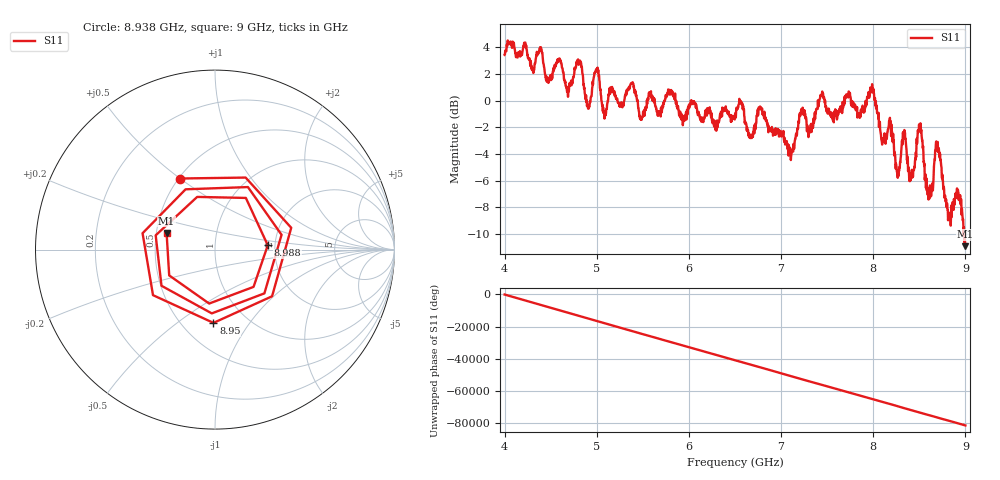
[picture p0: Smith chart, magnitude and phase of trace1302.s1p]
! Created with skrf 1.8.0 (http://scikit-rf.org).
# Hz S RI R 50.0
!freq ReS11 ImS11
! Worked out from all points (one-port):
!   1601 points, 4 GHz to 9 GHz, reference 50 ohm
!   lowest |S11| = -10.9 dB at 9 GHz (marker M1), VSWR 1.80, Z = 28.3 + j5.7 ohm
!   |S11| at or under -10 dB: 8.980341 GHz to 8.981772 GHz (1.431 MHz wide, 0.0159 % of centre); 8.985834 GHz to end of sweep
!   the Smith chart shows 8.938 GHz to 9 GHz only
!   S11 on the Smith chart (normalised r, x): 8.938 GHz: 0.51, +0.50; 8.95 GHz: 0.70, -0.69; 8.988 GHz: 1.83, +0.10; 9 GHz: 0.57, +0.11
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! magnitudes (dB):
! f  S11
! 4 GHz  3.4
! 4.625 GHz  2.5
! 5.25 GHz  -0.5
! 5.378 GHz  1.3
! 5.484 GHz  -1.3
! 5.875 GHz  -0.5
! 6.5 GHz  -1.0
! 6.572 GHz  -0.2
! 6.669 GHz  -2.7
! 6.781 GHz  -0.5
! 7.125 GHz  -3.6
! 7.222 GHz  -0.9
! 7.75 GHz  0.3
! 7.991 GHz  0.9
! 8.103 GHz  -2.9
! 8.197 GHz  -1.8
! 8.262 GHz  -5.5
! 8.331 GHz  -2.3
! 8.375 GHz  -4.3
! 8.422 GHz  -5.8
! 8.506 GHz  -1.8
! 8.606 GHz  -7.0
! 8.697 GHz  -3.2
! 8.819 GHz  -8.9
! 8.938 GHz  -7.1
! 8.95 GHz  -7.8
! 8.988 GHz  -10.6
! 9 GHz  -10.9
